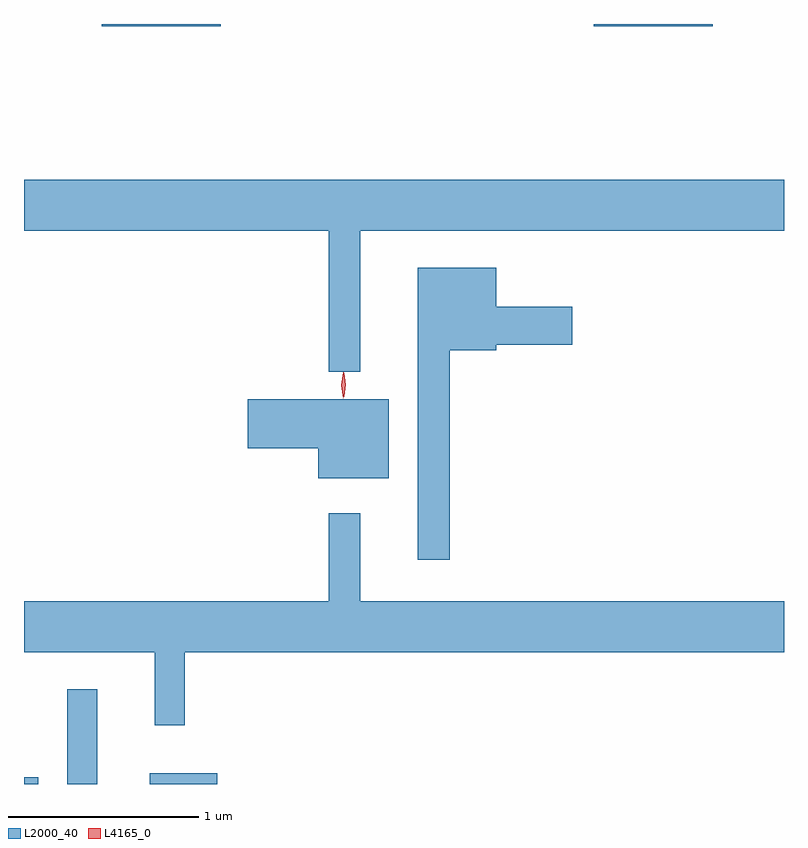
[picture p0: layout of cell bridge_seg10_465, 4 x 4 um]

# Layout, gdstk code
import gdstk
lib = gdstk.Library(unit=1e-6, precision=1e-09)
def R(c, l, rs):  # rectangles x0, y0, x1, y1
    for r in rs: c.add(gdstk.rectangle(r[:2], r[2:], *l))
def P(c, l, *ps):  # polygons
    for p in ps: c.add(gdstk.Polygon(p, *l))
L2000_40 = (2000, 40)
L4165_0 = (4165, 0)

bridge_seg10_465 = lib.new_cell('bridge_seg10_465')
R(bridge_seg10_465, L2000_40, [(960.038,2150.963,960.114,2150.999), (960.266,2150.963,960.424,2151.463), (960.701,2150.963,961.054,2151.019), (960.446,2154.951,961.074,2154.963), (963.036,2154.951,963.664,2154.963)])
P(bridge_seg10_465, L2000_40, [(961.809,2153.876),(964.038,2153.876),(964.038,2154.144),(960.038,2154.144),(960.038,2153.876),(961.641,2153.876),(961.641,2153.133),(961.809,2153.133)],
  [(962.279,2153.246),(962.524,2153.246),(962.524,2153.276),(962.924,2153.276),(962.924,2153.474),(962.524,2153.474),(962.524,2153.679),(962.111,2153.679),(962.111,2152.143),(962.279,2152.143)],
  [(961.959,2152.989),(961.216,2152.989),(961.216,2152.731),(961.586,2152.731),(961.586,2152.571),(961.959,2152.571)],
  [(960.884,2151.656),(964.038,2151.656),(964.038,2151.924),(961.809,2151.924),(961.809,2152.388),(961.641,2152.388),(961.641,2151.924),(960.038,2151.924),(960.038,2151.656),(960.726,2151.656),(960.726,2151.273),(960.884,2151.273)])
P(bridge_seg10_465, L4165_0, [(961.717,2152.994),(961.709,2153.062),(961.719,2153.13),(961.72,2153.13),(961.72,2153.13),(961.729,2153.062),(961.718,2152.994),(961.718,2152.994)],
  [(961.722,2153),(961.722,2153),(961.712,2153.064),(961.722,2153.126),(961.722,2153.127),(961.723,2153.126),(961.732,2153.064),(961.723,2153)])

lib.write_gds('bridge_seg10_465.gds')
